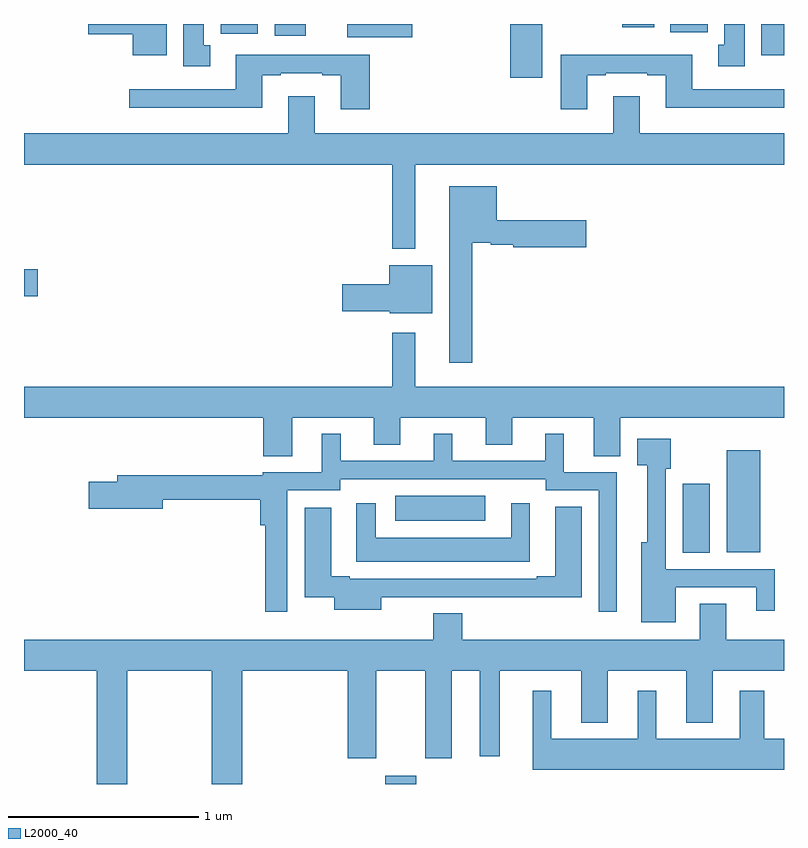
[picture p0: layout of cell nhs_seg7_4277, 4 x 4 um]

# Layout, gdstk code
import gdstk
lib = gdstk.Library(unit=1e-6, precision=1e-09)
def R(c, l, rs):  # rectangles x0, y0, x1, y1
    for r in rs: c.add(gdstk.rectangle(r[:2], r[2:], *l))
def P(c, l, *ps):  # polygons
    for p in ps: c.add(gdstk.Polygon(p, *l))
L2000_40 = (2000, 40)

nhs_seg7_4277 = lib.new_cell('nhs_seg7_4277')
R(nhs_seg7_4277, L2000_40, [(382.901,1020,383.065,1020.043), (384.467,1021.216,384.61,1021.579), (384.698,1021.22,384.874,1021.756), (382.953,1021.385,383.428,1021.516), (381,1022.566,381.073,1022.708), (383.558,1023.717,383.728,1024), (384.881,1023.836,385,1024), (382.7,1023.929,383.044,1024), (382.319,1023.939,382.483,1024), (382.035,1023.948,382.231,1024), (384.401,1023.956,384.598,1024), (384.149,1023.984,384.316,1024)])
P(nhs_seg7_4277, L2000_40, [(381.979,1023.889),(381.946,1023.889),(381.946,1024),(381.839,1024),(381.839,1023.777),(381.979,1023.777)],
  [(381.751,1024),(381.338,1024),(381.338,1023.947),(381.572,1023.947),(381.572,1023.836),(381.751,1023.836)],
  [(384.793,1024),(384.686,1024),(384.686,1023.89),(384.653,1023.89),(384.653,1023.777),(384.793,1023.777)],
  [(383.965,1023.729),(384.061,1023.729),(384.061,1023.741),(384.281,1023.741),(384.281,1023.729),(384.377,1023.729),(384.377,1023.56),(385,1023.56),(385,1023.657),(384.517,1023.657),(384.517,1023.838),(383.825,1023.838),(383.825,1023.552),(383.965,1023.552)],
  [(382.82,1023.837),(382.115,1023.837),(382.115,1023.657),(381.555,1023.657),(381.555,1023.56),(382.255,1023.56),(382.255,1023.729),(382.351,1023.729),(382.351,1023.741),(382.571,1023.741),(382.571,1023.729),(382.667,1023.729),(382.667,1023.552),(382.82,1023.552)],
  [(383.059,1023.26),(385,1023.26),(385,1023.424),(384.241,1023.424),(384.241,1023.619),(384.101,1023.619),(384.101,1023.424),(382.531,1023.424),(382.531,1023.619),(382.391,1023.619),(382.391,1023.424),(381,1023.424),(381,1023.26),(382.938,1023.26),(382.938,1022.816),(383.059,1022.816)],
  [(383.359,1022.849),(383.456,1022.849),(383.456,1022.837),(383.574,1022.837),(383.574,1022.825),(383.959,1022.825),(383.959,1022.967),(383.488,1022.967),(383.488,1023.145),(383.237,1023.145),(383.237,1022.217),(383.359,1022.217)],
  [(383.149,1022.731),(382.922,1022.731),(382.922,1022.63),(382.674,1022.63),(382.674,1022.488),(382.926,1022.488),(382.926,1022.477),(383.149,1022.477)],
  [(382.411,1021.928),(382.841,1021.928),(382.841,1021.786),(382.981,1021.786),(382.981,1021.928),(383.429,1021.928),(383.429,1021.786),(383.569,1021.786),(383.569,1021.928),(383.999,1021.928),(383.999,1021.726),(384.139,1021.726),(384.139,1021.928),(385,1021.928),(385,1022.092),(383.059,1022.092),(383.059,1022.374),(382.938,1022.374),(382.938,1022.092),(381,1022.092),(381,1021.928),(382.259,1021.928),(382.259,1021.726),(382.411,1021.726)],
  [(382.386,1021.545),(382.665,1021.545),(382.665,1021.605),(383.745,1021.605),(383.745,1021.545),(384.024,1021.545),(384.024,1020.906),(384.12,1020.906),(384.12,1021.369),(384.121,1021.369),(384.121,1021.641),(383.842,1021.641),(383.842,1021.843),(383.744,1021.843),(383.744,1021.701),(383.254,1021.701),(383.254,1021.843),(383.156,1021.843),(383.156,1021.701),(382.666,1021.701),(382.666,1021.843),(382.568,1021.843),(382.568,1021.641),(382.256,1021.641),(382.256,1021.624),(381.491,1021.624),(381.491,1021.59),(381.342,1021.59),(381.342,1021.448),(381.73,1021.448),(381.73,1021.495),(382.244,1021.495),(382.244,1021.361),(382.27,1021.361),(382.27,1020.906),(382.386,1020.906)],
  [(384.43,1021.035),(384.854,1021.035),(384.854,1020.912),(384.952,1020.912),(384.952,1021.131),(384.378,1021.131),(384.378,1021.659),(384.405,1021.659),(384.405,1021.816),(384.228,1021.816),(384.228,1021.678),(384.281,1021.678),(384.281,1021.273),(384.248,1021.273),(384.248,1020.851),(384.43,1020.851)],
  [(383.662,1021.477),(383.564,1021.477),(383.564,1021.297),(382.852,1021.297),(382.852,1021.477),(382.748,1021.477),(382.748,1021.169),(383.662,1021.169)],
  [(382.879,1020.984),(383.389,1020.984),(383.389,1020.982),(383.935,1020.982),(383.935,1021.459),(383.795,1021.459),(383.795,1021.093),(383.699,1021.093),(383.699,1021.08),(382.714,1021.08),(382.714,1021.093),(382.618,1021.093),(382.618,1021.453),(382.478,1021.453),(382.478,1020.982),(382.634,1020.982),(382.634,1020.917),(382.879,1020.917)],
  [(381.543,1020.596),(381.988,1020.596),(381.988,1020),(382.148,1020),(382.148,1020.596),(382.703,1020.596),(382.703,1020.135),(382.855,1020.135),(382.855,1020.596),(383.111,1020.596),(383.111,1020.135),(383.251,1020.135),(383.251,1020.596),(383.399,1020.596),(383.399,1020.147),(383.503,1020.147),(383.503,1020.596),(383.933,1020.596),(383.933,1020.323),(384.073,1020.323),(384.073,1020.596),(384.485,1020.596),(384.485,1020.323),(384.625,1020.323),(384.625,1020.596),(385,1020.596),(385,1020.76),(384.697,1020.76),(384.697,1020.95),(384.557,1020.95),(384.557,1020.76),(383.306,1020.76),(383.306,1020.899),(383.153,1020.899),(383.153,1020.76),(381,1020.76),(381,1020.596),(381.383,1020.596),(381.383,1020),(381.543,1020)],
  [(385,1020.238),(384.895,1020.238),(384.895,1020.49),(384.767,1020.49),(384.767,1020.238),(384.328,1020.238),(384.328,1020.49),(384.23,1020.49),(384.23,1020.238),(383.776,1020.238),(383.776,1020.49),(383.678,1020.49),(383.678,1020.074),(385,1020.074)])

lib.write_gds('nhs_seg7_4277.gds')
